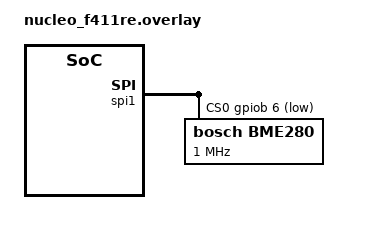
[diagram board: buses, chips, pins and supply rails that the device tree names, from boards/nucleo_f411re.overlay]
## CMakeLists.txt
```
cmake_minimum_required(VERSION 3.20.0)
find_package(Zephyr REQUIRED HINTS $ENV{ZEPHYR_BASE})
project(spi_bme280_lab)

target_sources(app PRIVATE src/main.c)
```

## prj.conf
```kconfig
CONFIG_LOG=y
CONFIG_SPI=y
CONFIG_GPIO=y
```

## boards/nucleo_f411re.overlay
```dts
/* BME280 as a child of spi1 (Arduino header: D13=SCK, D12=MISO, D11=MOSI).
 * The Sensor API is NOT enabled, so the in-tree driver is not built: the
 * node only provides the bus + chip select + max frequency to the SPI API. */
&spi1 {
	cs-gpios = <&gpiob 6 GPIO_ACTIVE_LOW>; /* D10 = chip select */

	bme280: bme280@0 {
		compatible = "bosch,bme280";
		reg = <0>;                      /* index 0 in cs-gpios */
		spi-max-frequency = <1000000>;  /* 1 MHz (sensor max: 10 MHz) */
		status = "okay";
	};
};
```

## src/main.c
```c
/*
 * Lab 1.4.4 - SPI with BME280 using raw register access
 *
 * SPI basics:
 *  - Four lines: SCLK, MOSI, MISO and one CS (chip select) per device.
 *  - No addresses: the master pulls CS low to select the device.
 *  - Full duplex: while the master sends, the slave answers on MISO.
 *
 * Talks to the sensor registers directly through Zephyr's generic SPI API
 * (no Sensor API, no in-tree driver). Reads the chip ID and the temperature.
 * Extended: also computes pressure and humidity.
 */

#include <stdlib.h>
#include <string.h>
#include <zephyr/kernel.h>
#include <zephyr/device.h>
#include <zephyr/drivers/spi.h>
#include <zephyr/logging/log.h>

LOG_MODULE_REGISTER(spi_bme280_lab, LOG_LEVEL_INF);

/* BME280 registers */
#define BME280_REG_CALIB_T      0x88 /* dig_T1..T3 calibration (6 bytes) */
#define BME280_REG_ID           0xD0 /* chip ID (read-only) */
#define BME280_REG_RESET        0xE0 /* write 0xB6 = soft reset */
#define BME280_REG_CTRL_HUM     0xF2 /* humidity oversampling (write before CTRL_MEAS) */
#define BME280_REG_CTRL_MEAS    0xF4 /* temp/pressure oversampling + power mode */
#define BME280_REG_DATA         0xF7 /* press(3) temp(3) hum(2) = 8 bytes
Es la dirección base donde residen las lecturas en bruto (ADC raw values) ya digitalizadas por el sensor.
*/
#define BME280_REG_CALIB_H1     0xA1 /* dig_H1 (1 byte) */
#define BME280_REG_CALIB_H2     0xE1 /* dig_H2..H6 (7 bytes) */

#define BME280_ID_BME280        0x60 /* expected chip ID */
#define BME280_ID_BMP280        0x58 /* look-alike without humidity, often sold as BME280 */
#define BME280_RESET_CMD        0xB6
#define BME280_CTRL_HUM_X1      0x01 /* humidity oversampling x1 */
#define BME280_CTRL_MEAS_NORMAL 0x27 /* temp x1, pressure x1, normal mode */

/* SPI command byte: bit7 = 1 read / 0 write, bits6..0 = register */


#define BME280_SPI_READ         0x80 //se lee data en bruto
/*
se usa para CUALQUIER lectura, no solo para los datos en bruto.
Sirve para indicarle al sensor que vas a pedir/leer información de cualquier registro, ya sean:
Datos en bruto (ADC): Muestras de temperatura, presión o humedad (0xF7).
Chip ID: Para verificar que el integrado responde (0xD0).
Coeficientes de calibración: dig_T, dig_P, dig_H (0x88, 0x8E, 0xA1, 0xE1).
*/

#define BME280_SPI_WRITE_MASK   0x7F //se envían comandos de configuración
/*
0xE0 (BME280_REG_RESET): para enviarle el comando de reinicio 0xB6.
0xF2 (BME280_REG_CTRL_HUM): para configurar el oversampling de humedad.
0xF4 (BME280_REG_CTRL_MEAS): para configurar oversampling y modo de energía.
*/

#define BME280_MAX_READ         8    /* largest read used: data block (8 bytes) 
tamaño máximo del búfer SPI de transmisión/recepción en bytes para una sola llamada a la función bme_read()
Presión (3 bytes) + Temperatura (3 bytes) + Humedad (2 bytes) = 8 bytes

Cable TX (Tú -> Sensor): [ COMANDO ] [ DUMMY ] [ DUMMY ] ... [ DUMMY ]
Cable RX (Sensor -> Tú): [ BASURA  ] [ DATO1 ] [ DATO2 ] ... [ DATO8 ]

En el cable que sale (TX): Tu intención es mandar 1 byte útil (el comando) y luego 8 bytes inútiles (relleno/dummy para dar reloj).
En el cable que entra (RX): Pasa exactamente lo contrario. Recibes 1 byte inútil (basura/descartable) y luego 8 bytes útiles (los datos reales que querías).
*/

/* SPI mode 0 (CPOL=0, CPHA=0), 8-bit words, MSB first */
#define BME280_SPI_OP           (SPI_WORD_SET(8) | SPI_TRANSFER_MSB)/*
para que dos chips por SPI se entiendan, tienen que ponerse de acuerdo en 3 reglas básicas.


### 1. ¿Cómo enviamos los datos? `SPI_WORD_SET(8)`
Los datos se mandan en paquetes de **1 byte (8 bits)** a la vez.

### 2. ¿Qué bit sale primero?  `SPI_TRANSFER_MSB`
Se manda primero el bit de la izquierda (el más pesado / MSB) y al final el de la derecha.

* *Ejemplo:* Para enviar `1000 0000`, sale primero el `1` y luego los ceros.

### 3. ¿Cómo coordinamos el ritmo?  Modo SPI 0 (`CPOL=0`, `CPHA=0`)
Es el "ritmo del reloj" para transferir la información en ambas direcciones:

* **Reloj en reposo (`CPOL=0`):** Cuando no hay comunicación, el cable de reloj está apagado ($0\text{V}$).
* **Momento de envío (transmisión):** El que transmite (máster o sensor) cambia y coloca el bit en la línea cuando el reloj **BAJA** (de $3.3\text{V}$ a $0\text{V}$).
* **Momento de lectura (captura) (`CPHA=0`):** El que recibe captura el bit en el momento exacto en que el reloj **SUBE** (de $0\text{V}$ a $3.3\text{V}$).

---
*/

/* Temperature calibration coefficients stored in the sensor */
struct bme280_calib {
	uint16_t t1;
	int16_t t2;
	int16_t t3;
	/* Pressure coefficients */
	uint16_t p1;
	int16_t p2, p3, p4, p5, p6, p7, p8, p9;
	/* Humidity coefficients */
	uint8_t h1;
	int16_t h2;
	uint8_t h3;
	int16_t h4, h5;
	int8_t h6;
};


//La macro extrae del Overlay/DTS el bus, pin CS y frecuencia, y los une con la configuración del modo SPI en la estructura bme en tiempo de compilación*/
static const struct spi_dt_spec bme = SPI_DT_SPEC_GET(DT_NODELABEL(bme280), BME280_SPI_OP);

/* Write one register: [reg with bit7 cleared, value] */
static int bme_write_reg(uint8_t reg, uint8_t val)
{
	//Arma la trama de 2 bytes. El primer byte apaga el bit 7 (reg & 0x7F) para indicar escritura , y el segundo byte (val) es el valor a guardar.
	uint8_t tx[2] = { reg & BME280_SPI_WRITE_MASK, val };

	//Adaptan el arreglo tx al formato que exige la API de Zephyr RTOS.
	const struct spi_buf buf = { .buf = tx, .len = sizeof(tx) };
	const struct spi_buf_set set = { .buffers = &buf, .count = 1 };

	//Adaptan el arreglo tx al formato que exige la API de Zephyr RTOS.
	return spi_write_dt(&bme, &set);
}
//En Escritura (bme_write_reg): Mandas 2 bytes reales (Dirección + Dato a guardar). El sensor guarda esos datos en su memoria.


/* Read len bytes starting at reg: send command + dummy bytes, keep rx[1..] */
static int bme_read(uint8_t reg, uint8_t *data, size_t len)
{
	uint8_t tx[1 + BME280_MAX_READ] = { 0 };
	uint8_t rx[1 + BME280_MAX_READ];
	int ret;

	if (len == 0 || len > BME280_MAX_READ) {
		return -EINVAL;
	}

	/* Command byte; the address auto-increments on multi-byte reads */
	tx[0] = reg | BME280_SPI_READ;

	const struct spi_buf tx_buf = { .buf = tx, .len = len + 1 };
	const struct spi_buf rx_buf = { .buf = rx, .len = len + 1 };
	const struct spi_buf_set tx_set = { .buffers = &tx_buf, .count = 1 };
	const struct spi_buf_set rx_set = { .buffers = &rx_buf, .count = 1 };

	ret = spi_transceive_dt(&bme, &tx_set, &rx_set);
	if (ret < 0) {
		return ret;
	}

	/* rx[0] was clocked in during the command byte: discard it */
	memcpy(data, &rx[1], len);
	return 0;
}
//En Lectura (bme_read): Mandas 1 comando + 8 ceros de rellenado (dummy) únicamente para mover el reloj y poder recibir los datos del sensor.
/*
Por el cable TX (salida): Envías [1 Comando + 8 Dummies]

Por el cable RX (entrada): Recibes [1 Basura/Dummy + 8 Datos reales]
*/


/* Two bytes, low byte first, to a 16-bit value */
static uint16_t le16(const uint8_t *b)
{
	return (uint16_t)((b[1] << 8) | b[0]);
}

/* Bosch integer compensation formula: returns temperature in 0.01 degC */
static int32_t bme280_compensate_temp(int32_t adc_t, const struct bme280_calib *c,
				      int32_t *t_fine)
{
	int32_t var1 = (((adc_t >> 3) - ((int32_t)c->t1 << 1)) * (int32_t)c->t2) >> 11;
	int32_t d = (adc_t >> 4) - (int32_t)c->t1;
	int32_t var2 = (((d * d) >> 12) * (int32_t)c->t3) >> 14;

	/* t_fine is shared with the pressure and humidity formulas */
	*t_fine = var1 + var2;

	return (*t_fine * 5 + 128) >> 8;
}

/* Bosch integer formula: returns pressure in Pa (needs t_fine) */
static uint32_t bme280_compensate_press(int32_t adc_p, const struct bme280_calib *c,
					int32_t t_fine)
{
	int32_t var1 = (t_fine >> 1) - 64000;
	int32_t var2 = (((var1 >> 2) * (var1 >> 2)) >> 11) * (int32_t)c->p6;
	uint32_t p;

	var2 = var2 + ((var1 * (int32_t)c->p5) << 1);
	var2 = (var2 >> 2) + ((int32_t)c->p4 << 16);
	var1 = ((((int32_t)c->p3 * (((var1 >> 2) * (var1 >> 2)) >> 13)) >> 3) +
		(((int32_t)c->p2 * var1) >> 1)) >> 18;
	var1 = ((32768 + var1) * (int32_t)c->p1) >> 15;
	if (var1 == 0) {
		return 0; /* avoid division by zero */
	}

	p = (((uint32_t)(1048576 - adc_p) - (uint32_t)(var2 >> 12))) * 3125;
	if (p < 0x80000000U) {
		p = (p << 1) / (uint32_t)var1;
	} else {
		p = (p / (uint32_t)var1) * 2;
	}

	var1 = ((int32_t)c->p9 * (int32_t)(((p >> 3) * (p >> 3)) >> 13)) >> 12;
	var2 = ((int32_t)(p >> 2) * (int32_t)c->p8) >> 13;

	return (uint32_t)((int32_t)p + ((var1 + var2 + (int32_t)c->p7) >> 4));
}

/* Bosch integer formula: returns humidity in %RH * 1024 (needs t_fine) */
static uint32_t bme280_compensate_hum(int32_t adc_h, const struct bme280_calib *c,
				      int32_t t_fine)
{
	int32_t v = t_fine - 76800;

	v = (((((adc_h << 14) - ((int32_t)c->h4 << 20) - ((int32_t)c->h5 * v)) + 16384) >> 15) *
	     (((((((v * (int32_t)c->h6) >> 10) *
		  (((v * (int32_t)c->h3) >> 11) + 32768)) >> 10) + 2097152) *
	       (int32_t)c->h2 + 8192) >> 14));
	v = v - (((((v >> 15) * (v >> 15)) >> 7) * (int32_t)c->h1) >> 4);

	/* Clamp to 0..100 %RH */
	v = v < 0 ? 0 : v;
	v = v > 419430400 ? 419430400 : v;

	return (uint32_t)(v >> 12);
}

int main(void)
{
	uint8_t id;      /* chip ID read from the sensor */
	uint8_t cal[24]; /* raw calibration bytes */
	uint8_t h1;      /* raw dig_H1 */
	uint8_t hcal[7]; /* raw dig_H2..H6 */
	uint8_t buf[8];  /* raw press/temp/hum bytes */
	struct bme280_calib calib;
	int ret;         /* 0 = OK, negative = error */

	/* Checks the STM32 SPI controller only, not the sensor */
	if (!spi_is_ready_dt(&bme)) {
		LOG_ERR("SPI bus not ready");
		return 0;
	}

	/* Step 1: did the transaction work? */
	ret = bme_read(BME280_REG_ID, &id, 1);
	if (ret < 0) {
		LOG_ERR("ID read failed (%d)", ret);
		return 0;
	}
	LOG_INF("ID = 0x%02X (BME280 = 0x%02X, BMP280 = 0x%02X)",
		id, BME280_ID_BME280, BME280_ID_BMP280);

	/* Step 2: is it a supported chip? (0x00 = MISO stuck low, 0xFF = MISO floating/high) */
	if (id != BME280_ID_BME280 && id != BME280_ID_BMP280) {
		LOG_ERR("Unexpected chip ID - check wiring/CS");
		return 0;
	}
	if (id == BME280_ID_BMP280) {
		LOG_WRN("This is a BMP280 (no humidity), temperature still works");
	}

	/* Soft reset, then wait for the sensor to restart */
	ret = bme_write_reg(BME280_REG_RESET, BME280_RESET_CMD);
	k_msleep(10);

	/* Read the temperature calibration coefficients (little-endian) */
	/* 24 bytes (T1..T3 + P1..P9) in chunks of 8, the max read size */
	for (int i = 0; i < (int)sizeof(cal); i += BME280_MAX_READ) {
		ret |= bme_read(BME280_REG_CALIB_T + i, &cal[i], BME280_MAX_READ);
	}

	/* Humidity coefficients exist only on the real BME280 */
	if (id == BME280_ID_BME280) {
		ret |= bme_read(BME280_REG_CALIB_H1, &h1, 1);
		ret |= bme_read(BME280_REG_CALIB_H2, hcal, sizeof(hcal));
	}
	if (ret < 0) {
		LOG_ERR("Reset/calibration read failed");
		return 0;
	}
	calib.t1 = le16(&cal[0]);
	calib.t2 = (int16_t)le16(&cal[2]);
	calib.t3 = (int16_t)le16(&cal[4]);
	calib.p1 = le16(&cal[6]);
	calib.p2 = (int16_t)le16(&cal[8]);
	calib.p3 = (int16_t)le16(&cal[10]);
	calib.p4 = (int16_t)le16(&cal[12]);
	calib.p5 = (int16_t)le16(&cal[14]);
	calib.p6 = (int16_t)le16(&cal[16]);
	calib.p7 = (int16_t)le16(&cal[18]);
	calib.p8 = (int16_t)le16(&cal[20]);
	calib.p9 = (int16_t)le16(&cal[22]);
	if (id == BME280_ID_BME280) {
		calib.h1 = h1;
		calib.h2 = (int16_t)le16(&hcal[0]);
		calib.h3 = hcal[2];
		/* H4 and H5 are 12-bit values sharing byte 0xE5 */
		calib.h4 = (int16_t)(((int8_t)hcal[3] << 4) | (hcal[4] & 0x0F));
		calib.h5 = (int16_t)(((int8_t)hcal[5] << 4) | (hcal[4] >> 4));
		calib.h6 = (int8_t)hcal[6];
	}

	/* CTRL_HUM first (only applied after CTRL_MEAS), CTRL_MEAS last starts measuring */
	ret = bme_write_reg(BME280_REG_CTRL_HUM, BME280_CTRL_HUM_X1);
	ret |= bme_write_reg(BME280_REG_CTRL_MEAS, BME280_CTRL_MEAS_NORMAL);
	if (ret < 0) {
		LOG_ERR("Configuration failed");
		return 0;
	}

	while (1) {
		/* Burst read press(3) temp(3) hum(2) in one transaction */
		ret = bme_read(BME280_REG_DATA, buf, sizeof(buf));
		if (ret < 0) {
			LOG_ERR("Burst read failed (%d)", ret);
		} else {
			int32_t t_fine;

			/* Temperature is 20 bits: msb<<12 | lsb<<4 | xlsb>>4 */
			int32_t adc_t = ((int32_t)buf[3] << 12) |
					((int32_t)buf[4] << 4) |
					(buf[5] >> 4);
			int32_t t = bme280_compensate_temp(adc_t, &calib, &t_fine);

			/* Pressure has the same 20-bit layout, in buf[0..2] */
			int32_t adc_p = ((int32_t)buf[0] << 12) |
					((int32_t)buf[1] << 4) |
					(buf[2] >> 4);
			uint32_t p = bme280_compensate_press(adc_p, &calib, t_fine);

			LOG_INF("Temp = %s%d.%02d C", t < 0 ? "-" : "",
				abs(t) / 100, abs(t) % 100);
			/* Pa / 100 = hPa, two decimals */
			LOG_INF("Press = %u.%02u hPa", p / 100, p % 100);

			if (id == BME280_ID_BME280) {
				/* Humidity is 16 bits: msb<<8 | lsb */
				int32_t adc_h = ((int32_t)buf[6] << 8) | buf[7];
				uint32_t h = bme280_compensate_hum(adc_h, &calib, t_fine);
				uint32_t rh100 = (h * 100) >> 10; /* %RH * 100 */

				LOG_INF("Hum = %u.%02u %%RH", rh100 / 100, rh100 % 100);
			}
		}
		k_msleep(1000);
	}

	return 0;
}



/*
                 ┌──────────────────────┐
                 │        main()        │
                 └──────────┬───────────┘
                            ▼
                ┌───────────────────────┐   no
                │ spi_is_ready_dt(&bme) ├────────► LOG_ERR, exit
                │ (STM32 SPI1 ready?)   │
                └───────────┬───────────┘
                            │ yes
                            ▼
                ┌───────────────────────┐   ret<0
                │ read ID (reg 0xD0)    ├────────► LOG_ERR, exit
                │ transaction OK?       │   (SPI/CS problem)
                └───────────┬───────────┘
                            │ ok
                            ▼
                ┌───────────────────────┐   other
                │ ID == 0x60 or 0x58 ?  ├────────► LOG_ERR, exit
                │ supported chip?       │   (0x00/0xFF: wiring/CS)
                └───────────┬───────────┘
                            │ yes (0x58 = BMP280: no humidity)
                            ▼
                ┌───────────────────────┐
                │ soft reset (0xB6)     │
                │ k_msleep(10)          │
                └───────────┬───────────┘
                            ▼
                ┌───────────────────────┐   ret<0
                │ read calibration      ├────────► LOG_ERR, exit
                │  T1..T3, P1..P9       │
                │  (24 B, 3 x 8 B)      │
                │  H1..H6 (BME280 only) │
                │ parse little-endian   │
                └───────────┬───────────┘
                            ▼
                ┌───────────────────────┐   ret<0
                │ write CTRL_HUM  (x1)  ├────────► LOG_ERR, exit
                │ write CTRL_MEAS (0x27)│
                │  (starts measuring)   │
                └───────────┬───────────┘
                            ▼
        ┌──────────────────────────────────────────────┐
        │ while (1)                                    │
        │                                              │
        │  burst read 8 bytes from DATA (0xF7)         │
        │      │                                       │
        │      ├─ error ──► LOG_ERR                    │
        │      │                                       │
        │      └─ ok ──► adc_t = buf[3..5] (20 bit)    │
        │                t = compensate_temp()         │
        │                    └─► also yields t_fine    │
        │                adc_p = buf[0..2] (20 bit)    │
        │                p = compensate_press(t_fine)  │
        │                ──► LOG_INF Temp, Press       │
        │                                              │
        │                if BME280:                    │
        │                  adc_h = buf[6..7] (16 bit)  │
        │                  h = compensate_hum(t_fine)  │
        │                  ──► LOG_INF Hum             │
        │                                              │
        │  k_msleep(1000)  ─────────────────────┐      │
        │      ▲                                │      │
        │      └────────────────────────────────┘      │
        └──────────────────────────────────────────────┘
*/
```
